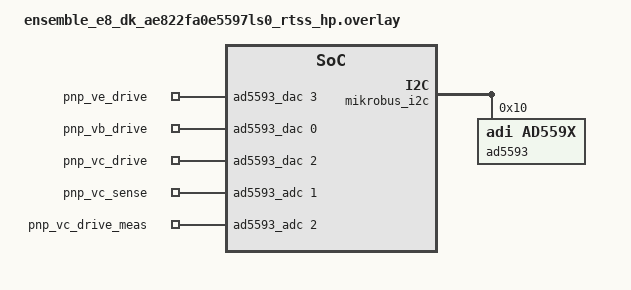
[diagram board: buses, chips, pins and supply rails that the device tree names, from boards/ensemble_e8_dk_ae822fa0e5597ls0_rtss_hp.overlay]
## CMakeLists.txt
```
# SPDX-License-Identifier: Apache-2.0

cmake_minimum_required(VERSION 3.20.0)

find_package(Zephyr REQUIRED HINTS $ENV{ZEPHYR_BASE})
project(ensemble_e8_dk_curve_tracer_pnp)

target_sources(app PRIVATE src/main.c)
```

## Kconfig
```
# Copyright (c) 2026 Analog Devices, Inc
# SPDX-License-Identifier: Apache-2.0

menu "ADALM-LSMSPG PNP curve tracer"

config SAMPLE_PNP_CURVE_TRACER_RSENSE_MOHM
	int "PNP collector sense resistor (milliohm)"
	default 49900
	help
	  Rsense_pnp on the ADALM-LSMSPG schematic is 49.9 ohm. The no-OS
	  example uses 47 ohm (47000).

config SAMPLE_PNP_CURVE_TRACER_RBASE_OHM
	int "PNP base resistor (ohm)"
	default 49900
	help
	  Rbase_pnp on the ADALM-LSMSPG schematic is 49.9 kohm. The no-OS
	  example uses 47 kohm (47000).

config SAMPLE_PNP_CURVE_TRACER_EMITTER_MV
	int "PNP emitter drive voltage (mV)"
	default 2499
	help
	  Voltage set on the AD5593R CH3 DAC, which drives the emitter through
	  jumper P7. The collector drive is swept down from this voltage.

endmenu

source "Kconfig.zephyr"
```

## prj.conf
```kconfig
CONFIG_I2C=y
CONFIG_ADC=y
CONFIG_DAC=y
CONFIG_CBPRINTF_FP_SUPPORT=y

# Console and shell on the board's console UART (UART4 on RTSS-HP)
CONFIG_SERIAL=y
CONFIG_UART_CONSOLE=y
CONFIG_SHELL=y
CONFIG_SHELL_BACKEND_SERIAL=y
CONFIG_SHELL_STACK_SIZE=4096
# Plain terminals: no colour escape sequences
CONFIG_SHELL_VT100_COLORS=n

CONFIG_ADC_AD559X_ACQUISITION_THREAD_STACK_SIZE=768
```

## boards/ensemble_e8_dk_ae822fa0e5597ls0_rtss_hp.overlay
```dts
/*
 * Copyright (c) 2026 Analog Devices, Inc
 *
 * SPDX-License-Identifier: Apache-2.0
 */

#include <zephyr/dt-bindings/adc/adc.h>

/*
 * ADALM-LSMSPG wired to the mikroBUS socket with jumper wires (SDA, SCL,
 * 3V3, GND only). The AD5593R is the same node as in the adi_lsmspg shield.
 */
&mikrobus_i2c {
	status = "okay";

	ad5593@10 {
		compatible = "adi,ad559x";
		reg = <0x10>;

		ad5593_adc: ad5593_adc {
			compatible = "adi,ad559x-adc";
			#io-channel-cells = <1>;
			#address-cells = <1>;
			#size-cells = <0>;

			channel@0 {
				reg = <0>;
				zephyr,gain = "ADC_GAIN_1";
				zephyr,reference = "ADC_REF_INTERNAL";
				zephyr,acquisition-time = <ADC_ACQ_TIME_DEFAULT>;
				zephyr,resolution = <12>;
				zephyr,vref-mv = <2500>;
			};

			channel@1 {
				reg = <1>;
				zephyr,gain = "ADC_GAIN_1";
				zephyr,reference = "ADC_REF_INTERNAL";
				zephyr,acquisition-time = <ADC_ACQ_TIME_DEFAULT>;
				zephyr,resolution = <12>;
				zephyr,vref-mv = <2500>;
			};

			channel@2 {
				reg = <2>;
				zephyr,gain = "ADC_GAIN_1";
				zephyr,reference = "ADC_REF_INTERNAL";
				zephyr,acquisition-time = <ADC_ACQ_TIME_DEFAULT>;
				zephyr,resolution = <12>;
				zephyr,vref-mv = <2500>;
			};
		};

		ad5593_dac: ad5593_dac {
			compatible = "adi,ad559x-dac";
			#io-channel-cells = <1>;
			#address-cells = <1>;
			#size-cells = <0>;

			channel@0 {
				reg = <0>;
				zephyr,resolution = <12>;
				zephyr,vref-mv = <2500>;
			};

			channel@2 {
				reg = <2>;
				zephyr,resolution = <12>;
				zephyr,vref-mv = <2500>;
			};

			channel@3 {
				reg = <3>;
				zephyr,resolution = <12>;
				zephyr,vref-mv = <2500>;
			};
		};
	};
};

/ {
	zephyr,user {
		io-channels = <&ad5593_dac 3>, <&ad5593_dac 0>, <&ad5593_dac 2>,
			      <&ad5593_adc 1>, <&ad5593_adc 2>;
		io-channel-names = "pnp_ve_drive", "pnp_vb_drive", "pnp_vc_drive",
				   "pnp_vc_sense", "pnp_vc_drive_meas";
	};
};
```

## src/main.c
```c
/*
 * Copyright (c) 2026 Analog Devices, Inc
 *
 * SPDX-License-Identifier: Apache-2.0
 */

/*
 * ADALM-LSMSPG PNP (AD5593R, I2C) curve tracer on the Alif Ensemble E8 DK.
 *
 * Port of the PNP half of no-OS projects/adalm-lsmspg curvetrace_example.
 */

#include <string.h>

#include <zephyr/kernel.h>
#include <zephyr/device.h>
#include <zephyr/drivers/adc.h>
#include <zephyr/drivers/dac.h>
#include <zephyr/shell/shell.h>
#include <zephyr/shell/shell_backend.h>

#define MAX_CURVES 4
#define NUM_POINTS 50

#define BASE_SETTLE_MS  50
#define POINT_SETTLE_MS 10

#define GRAPH_HEIGHT 20
#define GRAPH_WIDTH  60

#define RESOLUTION_BITS 12

#define VBE_V 0.7f

#define USER_NODE DT_PATH(zephyr_user)

struct curve_tracer {
	const char *title;
	const char *chip;
	int num_curves;
	int vb_start_mv;
	int vb_step_mv;
	int vc_start_mv;
	int vc_step_mv;
	float rsense_ohm;
	float rbase_ohm;
	/* Emitter drive */
	const struct dac_dt_spec *ve_drive;
	int ve_mv;
	const struct dac_dt_spec *vb_drive;
	const struct dac_dt_spec *vc_drive;
	const struct adc_dt_spec *vc_sense;
	const struct adc_dt_spec *vc_drive_meas;
	float mv_per_lsb;
	bool ready;
};

static const struct dac_dt_spec pnp_ve_drive = DAC_DT_SPEC_GET_BY_NAME(USER_NODE, pnp_ve_drive);
static const struct dac_dt_spec pnp_vb_drive = DAC_DT_SPEC_GET_BY_NAME(USER_NODE, pnp_vb_drive);
static const struct dac_dt_spec pnp_vc_drive = DAC_DT_SPEC_GET_BY_NAME(USER_NODE, pnp_vc_drive);
static const struct adc_dt_spec pnp_vc_sense = ADC_DT_SPEC_GET_BY_NAME(USER_NODE, pnp_vc_sense);
static const struct adc_dt_spec pnp_vc_drive_meas =
	ADC_DT_SPEC_GET_BY_NAME(USER_NODE, pnp_vc_drive_meas);

/* PNP driven and sensed through the AD5593R, emitter driven by a DAC */
static struct curve_tracer pnp = {
	.title = "PNP",
	.chip = "AD5593R (I2C)",
	.num_curves = 4,
	.vb_start_mv = 2000,
	.vb_step_mv = -500,
	.vc_start_mv = CONFIG_SAMPLE_PNP_CURVE_TRACER_EMITTER_MV,
	.vc_step_mv = -50,
	.rsense_ohm = CONFIG_SAMPLE_PNP_CURVE_TRACER_RSENSE_MOHM / 1000.0f,
	.rbase_ohm = CONFIG_SAMPLE_PNP_CURVE_TRACER_RBASE_OHM,
	.ve_drive = &pnp_ve_drive,
	.ve_mv = CONFIG_SAMPLE_PNP_CURVE_TRACER_EMITTER_MV,
	.vb_drive = &pnp_vb_drive,
	.vc_drive = &pnp_vc_drive,
	.vc_sense = &pnp_vc_sense,
	.vc_drive_meas = &pnp_vc_drive_meas,
};

static float curve_vcs[MAX_CURVES][NUM_POINTS];
static float curve_ics[MAX_CURVES][NUM_POINTS];

static int read_adc(const struct adc_dt_spec *spec, uint16_t *raw)
{
	int16_t sample;
	struct adc_sequence seq = {
		.buffer = &sample,
		.buffer_size = sizeof(sample),
	};
	int ret;

	ret = adc_sequence_init_dt(spec, &seq);
	if (ret != 0) {
		return ret;
	}

	ret = adc_read_dt(spec, &seq);
	if (ret != 0) {
		return ret;
	}

	*raw = (uint16_t)sample & BIT_MASK(RESOLUTION_BITS);

	return 0;
}

static int write_dac_mv(const struct curve_tracer *ct, const struct dac_dt_spec *spec, int mv,
			uint16_t *raw_out)
{
	uint16_t raw = (uint16_t)CLAMP((float)mv / ct->mv_per_lsb, 0, BIT_MASK(RESOLUTION_BITS));

	if (raw_out != NULL) {
		*raw_out = raw;
	}

	return dac_write_value_dt(spec, raw);
}

static int setup_channels(const struct shell *sh, struct curve_tracer *ct)
{
	const struct dac_dt_spec *dacs[] = {ct->vb_drive, ct->vc_drive, ct->ve_drive};
	const struct adc_dt_spec *adcs[] = {ct->vc_sense, ct->vc_drive_meas};
	int ret;

	for (size_t i = 0; i < ARRAY_SIZE(dacs); i++) {
		if (!dac_is_ready_dt(dacs[i])) {
			shell_error(sh, "%s DAC channel %u not ready", ct->chip,
				    dacs[i]->channel_id);
			return -ENODEV;
		}
		ret = dac_channel_setup_dt(dacs[i]);
		if (ret != 0) {
			shell_error(sh, "%s DAC channel %u setup failed: %d", ct->chip,
				    dacs[i]->channel_id, ret);
			return ret;
		}
	}

	for (size_t i = 0; i < ARRAY_SIZE(adcs); i++) {
		if (!adc_is_ready_dt(adcs[i])) {
			shell_error(sh, "%s ADC channel %u not ready", ct->chip,
				    adcs[i]->channel_id);
			return -ENODEV;
		}
		ret = adc_channel_setup_dt(adcs[i]);
		if (ret != 0) {
			shell_error(sh, "%s ADC channel %u setup failed: %d", ct->chip,
				    adcs[i]->channel_id, ret);
			return ret;
		}
	}

	/* Same reference/resolution on every channel of the device */
	ct->mv_per_lsb = (float)ct->vc_sense->vref_mv / (1 << RESOLUTION_BITS);
	ct->ready = true;

	return 0;
}

static void plot_ascii_graph(const struct shell *sh, const struct curve_tracer *ct)
{
	static char grid[GRAPH_HEIGHT + 2][GRAPH_WIDTH + 3];
	float max_v = 0.0f;
	float max_i = 0.0f;

	for (int y = 0; y < GRAPH_HEIGHT + 2; y++) {
		memset(grid[y], ' ', GRAPH_WIDTH + 2);
		grid[y][0] = '|';
		grid[y][GRAPH_WIDTH + 1] = '|';
		grid[y][GRAPH_WIDTH + 2] = '\0';
	}
	memset(grid[0], '-', GRAPH_WIDTH + 2);
	memset(grid[GRAPH_HEIGHT + 1], '-', GRAPH_WIDTH + 2);
	grid[0][0] = '+';
	grid[0][GRAPH_WIDTH + 1] = '+';
	grid[GRAPH_HEIGHT + 1][0] = '+';
	grid[GRAPH_HEIGHT + 1][GRAPH_WIDTH + 1] = '+';

	for (int c = 0; c < ct->num_curves; c++) {
		for (int p = 0; p < NUM_POINTS; p++) {
			max_v = MAX(max_v, curve_vcs[c][p]);
			max_i = MAX(max_i, curve_ics[c][p]);
		}
	}

	if (max_v < 0.01f) {
		max_v = 1.0f;
	}
	if (max_i < 0.001f) {
		max_i = 0.01f;
	}

	for (int c = 0; c < ct->num_curves; c++) {
		for (int p = 0; p < NUM_POINTS; p++) {
			int x = 1 + (int)((curve_vcs[c][p] / max_v) * (GRAPH_WIDTH - 1));
			int y = 1 + (int)((curve_ics[c][p] / max_i) * (GRAPH_HEIGHT - 1));

			/* As on a CRT tracer: zero current on the top row, growing downward */
			if (x >= 1 && x <= GRAPH_WIDTH && y >= 1 && y <= GRAPH_HEIGHT) {
				grid[y][x] = '*';
			}
		}
	}

	shell_print(sh, "\n\n=== %s - %s Curve Tracer (Ic vs Vc) ===", ct->chip, ct->title);
	shell_print(sh, "Y-axis: Ic (0 to %.2f mA, increasing downward)", (double)max_i);
	shell_print(sh, "X-axis: Vc (0 to %.2f V)\n", (double)max_v);

	for (int y = 0; y < GRAPH_HEIGHT + 2; y++) {
		shell_print(sh, "%s", grid[y]);
	}

	shell_fprintf(sh, SHELL_NORMAL, "0.0");
	for (int k = 1; k <= 5; k++) {
		shell_fprintf(sh, SHELL_NORMAL, "       %.2f", (double)(max_v / 5.0f * k));
	}
	shell_print(sh, " V\n\n===== %s %s Curve Trace Complete =====\n", ct->chip, ct->title);
}

static int curve_trace(const struct shell *sh, const struct curve_tracer *ct)
{
	uint16_t raw, vc_sense_raw, vc_meas_raw;
	int64_t start = k_uptime_get();
	float ve = 0.0f;
	int ret = 0;

	shell_print(sh, "\n========== %s %s Curve Tracer ==========", ct->chip, ct->title);
	shell_print(sh, "Vref: %u mV, Scale: %.4f mV/LSB, Rsense: %.1f ohm, Rbase: %.0f ohm",
		    ct->vc_sense->vref_mv, (double)ct->mv_per_lsb, (double)ct->rsense_ohm,
		    (double)ct->rbase_ohm);

	ret = write_dac_mv(ct, ct->ve_drive, ct->ve_mv, &raw);
	if (ret != 0) {
		shell_error(sh, "Failed to write emitter DAC: %d", ret);
		goto out;
	}
	ve = raw * ct->mv_per_lsb / 1000.0f;
	shell_print(sh, "Emitter Drive: %.4f V", (double)ve);

	shell_print(sh, "\nStarting sweep...");

	for (int ci = 0; ci < ct->num_curves; ci++) {
		ret = write_dac_mv(ct, ct->vb_drive, ct->vb_start_mv + ci * ct->vb_step_mv, &raw);
		if (ret != 0) {
			shell_error(sh, "Failed to write base DAC: %d", ret);
			goto out;
		}

		k_msleep(BASE_SETTLE_MS);

		float vb = raw * ct->mv_per_lsb / 1000.0f;
		float ib = ((ve - vb) - VBE_V) / ct->rbase_ohm;

		shell_print(sh, "Base Drive: %.4f V, %.3f uA", (double)vb, (double)(ib * 1e6f));

		for (int pi = 0; pi < NUM_POINTS; pi++) {
			ret = write_dac_mv(ct, ct->vc_drive, ct->vc_start_mv + pi * ct->vc_step_mv,
					   NULL);
			if (ret != 0) {
				shell_error(sh, "Failed to write collector DAC: %d", ret);
				goto out;
			}

			k_msleep(POINT_SETTLE_MS);

			ret = read_adc(ct->vc_sense, &vc_sense_raw);
			if (ret == 0) {
				ret = read_adc(ct->vc_drive_meas, &vc_meas_raw);
			}
			if (ret != 0) {
				shell_error(sh, "Failed to read ADC: %d", ret);
				goto out;
			}

			/* Current flows from the collector into CH2 */
			int delta = (int)vc_sense_raw - (int)vc_meas_raw;
			/* mV / ohm = mA */
			float ic = delta * ct->mv_per_lsb / ct->rsense_ohm;
			float vc = vc_sense_raw * ct->mv_per_lsb / 1000.0f;

			curve_vcs[ci][pi] = vc;
			curve_ics[ci][pi] = ic;

			shell_print(sh, "  coll voltage: %.4f V  coll current: %.4f mA", (double)vc,
				    (double)ic);
		}
	}

	plot_ascii_graph(sh, ct);

	shell_print(sh, "Sweep took %lld ms", k_uptime_get() - start);

out:
	/* Leave the transistor unbiased */
	write_dac_mv(ct, ct->ve_drive, 0, NULL);
	write_dac_mv(ct, ct->vb_drive, 0, NULL);
	write_dac_mv(ct, ct->vc_drive, 0, NULL);

	return ret;
}

static int run_curve_trace(const struct shell *sh, struct curve_tracer *ct)
{
	int ret;

	/* Set the channels up on first use, so any error goes to this shell */
	if (!ct->ready) {
		ret = setup_channels(sh, ct);
		if (ret != 0) {
			return ret;
		}
	}

	return curve_trace(sh, ct);
}

static int cmd_pnp_curvetrace(const struct shell *sh, size_t argc, char **argv)
{
	ARG_UNUSED(argc);
	ARG_UNUSED(argv);

	return run_curve_trace(sh, &pnp);
}

SHELL_CMD_REGISTER(pnp_curvetrace, NULL, "Run the AD5593R PNP curve trace", cmd_pnp_curvetrace);

int main(void)
{
	/*
	 * Print on every shell backend, through the shell, so the text shows up
	 * wherever the commands are typed and does not interleave with the prompt.
	 */
	for (int i = 0; i < shell_backend_count_get(); i++) {
		const struct shell *sh = shell_backend_get(i);

		/* The shell starts in its own thread, give it up to 1 s to come up */
		for (int t = 0; !shell_ready(sh) && t < 100; t++) {
			k_msleep(10);
		}

		if (!shell_ready(sh)) {
			continue;
		}

		shell_print(sh, "\nADALM-LSMSPG PNP curve tracer (AD5593R on mikroBUS I2C)");
		shell_print(sh, "Commands:");
		shell_print(sh, "  pnp_curvetrace  run one PNP sweep and print the ASCII plot");
		shell_print(sh, "  help            list all shell commands");
	}

	return 0;
}
```
